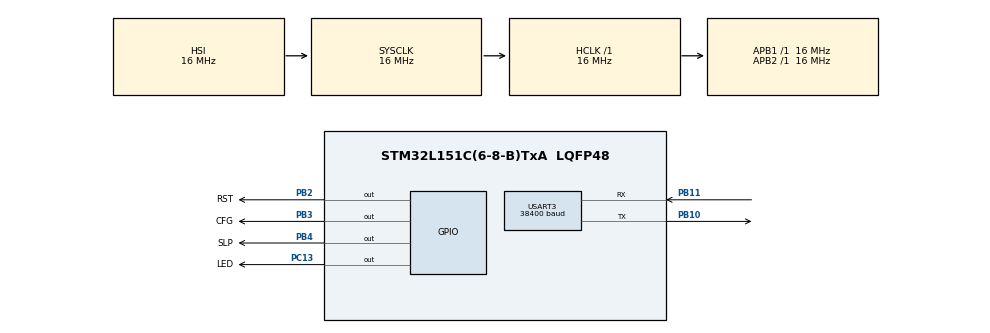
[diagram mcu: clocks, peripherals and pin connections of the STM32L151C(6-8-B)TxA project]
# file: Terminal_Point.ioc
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Dma.Request0=USART3_RX
Dma.Request1=USART3_TX
Dma.USART3_RX.0.Direction=DMA_PERIPH_TO_MEMORY
Dma.USART3_RX.0.Instance=DMA1_Channel3
Dma.USART3_RX.0.MemDataAlignment=DMA_MDATAALIGN_BYTE
Dma.USART3_RX.0.MemInc=DMA_MINC_ENABLE
Dma.USART3_RX.0.Mode=DMA_NORMAL
Dma.USART3_RX.0.PeriphDataAlignment=DMA_PDATAALIGN_BYTE
Dma.USART3_RX.0.PeriphInc=DMA_PINC_DISABLE
Dma.USART3_RX.0.Priority=DMA_PRIORITY_LOW
Dma.USART3_TX.1.Direction=DMA_MEMORY_TO_PERIPH
Dma.USART3_TX.1.Instance=DMA1_Channel2
Dma.USART3_TX.1.MemDataAlignment=DMA_MDATAALIGN_BYTE
Dma.USART3_TX.1.MemInc=DMA_MINC_ENABLE
Dma.USART3_TX.1.Mode=DMA_NORMAL
Dma.USART3_TX.1.PeriphDataAlignment=DMA_PDATAALIGN_BYTE
Dma.USART3_TX.1.PeriphInc=DMA_PINC_DISABLE
Dma.USART3_TX.1.Priority=DMA_PRIORITY_LOW
Mcu.Family=STM32L1
Mcu.Name=STM32L151C(6-8-B)TxA
Mcu.Package=LQFP48
NVIC.DMA1_Channel2_IRQn=true\:1\:0\:true\:false\:true\:false\:true\:true
NVIC.DMA1_Channel3_IRQn=true\:1\:0\:true\:false\:true\:false\:true\:true
NVIC.PriorityGroup=NVIC_PRIORITYGROUP_4
NVIC.RTC_WKUP_IRQn=true\:2\:0\:true\:false\:true\:true\:true\:true
NVIC.USART3_IRQn=true\:1\:0\:true\:false\:true\:false\:true\:true
PA13.Mode=Serial_Wire
PA13.Signal=SYS_JTMS-SWDIO
PA14.Mode=Serial_Wire
PA14.Signal=SYS_JTCK-SWCLK
PB10.Mode=Asynchronous
PB10.Signal=USART3_TX
PB11.Mode=Asynchronous
PB11.Signal=USART3_RX
PB2.GPIO_Label=RST
PB2.PinState=GPIO_PIN_SET
PB2.Signal=GPIO_Output
PB3.GPIO_Label=CFG
PB3.PinState=GPIO_PIN_SET
PB3.Signal=GPIO_Output
PB4.GPIO_Label=SLP
PB4.GPIO_ModeDefaultOutputPP=GPIO_MODE_OUTPUT_PP
PB4.PinState=GPIO_PIN_SET
PB4.Signal=GPIO_Output
PC13-WKUP2.GPIO_Label=LED
PC13-WKUP2.GPIO_ModeDefaultOutputPP=GPIO_MODE_OUTPUT_OD
PC13-WKUP2.GPIO_PuPd=GPIO_NOPULL
PC13-WKUP2.PinState=GPIO_PIN_SET
PC13-WKUP2.Signal=GPIO_Output
PC14-OSC32_IN.Mode=LSE-External-Oscillator
PC14-OSC32_IN.Signal=RCC_OSC32_IN
PC15-OSC32_OUT.Mode=LSE-External-Oscillator
PC15-OSC32_OUT.Signal=RCC_OSC32_OUT
ProjectManager.HeapSize=0x200
ProjectManager.StackSize=0x400
ProjectManager.TargetToolchain=MDK-ARM V5.32
RCC.AHBFreq_Value=16000000
RCC.APB1Freq_Value=16000000
RCC.APB1TimFreq_Value=16000000
RCC.APB2Freq_Value=16000000
RCC.APB2TimFreq_Value=16000000
RCC.HCLKFreq_Value=16000000
RCC.HSE_VALUE=24000000
RCC.HSI_VALUE=16000000
RCC.MSI_VALUE=2097000
RCC.RTCClockSelection=RCC_RTCCLKSOURCE_LSE
RCC.RTCClockSelectionVirtual=RCC_RTCCLKSOURCE_LSE
RCC.SYSCLKFreq_VALUE=16000000
RCC.SYSCLKSource=RCC_SYSCLKSOURCE_HSI
RCC.VCOOutputFreq_Value=48000000
RTC.WakeUpClock-WakeUp=RTC_WAKEUPCLOCK_CK_SPRE_16BITS
RTC.WakeUpCounter-WakeUp=9
USART3.BaudRate=38400
USART3.VirtualMode=VM_ASYNC
VP_RTC_VS_RTC_Activate.Mode=RTC_Enabled
VP_RTC_VS_RTC_WakeUp_intern.Mode=WakeUp
board=custom

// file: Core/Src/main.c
/* USER CODE BEGIN Header */
/**
 ******************************************************************************
 * @file           : main.c
 * @brief          : Main program body
 ******************************************************************************
 * @attention
 *
 * Copyright (c) 2026 STMicroelectronics.
 * All rights reserved.
 *
 * This software is licensed under terms that can be found in the LICENSE file
 * in the root directory of this software component.
 * If no LICENSE file comes with this software, it is provided AS-IS.
 *
 ******************************************************************************
 */
/* USER CODE END Header */
#include "main.h"
#include "dma.h"
#include "rtc.h"
#include "usart.h"
#include "gpio.h"

/* USER CODE BEGIN Includes */
#include "stop.h"
#include "zigbee.h"
/* USER CODE END Includes */

/* USER CODE BEGIN PD */
#define heart_beat_len 4
#define cmd_len 4
#define tx_len 24
/* USER CODE END PD */

/* USER CODE BEGIN PV */
uint8_t cmd_buff[cmd_len];
uint8_t tx_pack[tx_len] = {
    netID | netPT, pointADD, // 本节点地址
    0xFB, 0xFB, 0xFC, 0xFC,  // 数据帧头
    0x00,                    // 6数据类型，Default
    0x00, 0x00,               // 7-8电池电量，Default
    0x00,                    // 9信号类型，Default
    0x00, 0x00, 0x00, 0x00,  // 10-13累计发送次数，Default
    0x00, 0x00, 0x00, 0x00,  // 14-17数据，Default
    0x00, 0x00,              // 18-19CRC校验，Default
    0xFE, 0xFE, 0xFF, 0xFF   // 数据帧尾
};
uint16_t u16CRCtemp = 0;
volatile uint8_t Flag_rx = RESET;
volatile uint8_t Flag_tx = RESET;
volatile uint8_t Run_state = RESET; // RESET-Lowpower,SET-RUN
uint8_t heart_beat[heart_beat_len] = {netID | netPT, pointADD, 0x00, 0xC0};
/* USER CODE END PV */

void SystemClock_Config(void);
/* USER CODE BEGIN PFP */
void LED_flash200(uint8_t count)
{
    for (uint8_t i = 0; i < count; i++)
    {
        led_on();
        HAL_Delay(100);
        led_off();
        HAL_Delay(100);
    }
}
/* USER CODE END PFP */

int main(void)
{

    /* MCU Configuration--------------------------------------------------------*/

    /* Reset of all peripherals, Initializes the Flash interface and the Systick. */
    HAL_Init();

    /* Configure the system clock */
    SystemClock_Config();

    /* Initialize all configured peripherals */
    MX_GPIO_Init();
    MX_DMA_Init();
    MX_USART3_UART_Init();
    MX_RTC_Init();
    /* USER CODE BEGIN 2 */
    pvt_low_Power_init();
    pvt_Zigbee_init();
    HAL_Delay(1000); // 用于烧录程序延时并等待Zigbee入网(后续可调试为zigbee入网时间)
    HAL_UART_Receive_DMA(&huart3, cmd_buff, cmd_len);
    /* USER CODE END 2 */

    /* Infinite loop */
    /* USER CODE BEGIN WHILE */
    while (1)
    {
        led_on();
        /*---MISSION HERE---*/

        // CRC校验
        u16CRCtemp = CRC16_IBM_Byte(tx_pack, 7, 18);
        tx_pack[18] = (uint8_t)(u16CRCtemp >> 8);
        tx_pack[19] = (uint8_t)(u16CRCtemp & 0x00FF);
        HAL_UART_Transmit_DMA(&huart3, tx_pack, tx_len);
        /*---COMMAND PROCESSPN---*/
        if (Flag_rx == SET)
        {
            if (cmd_buff[3] == 0xC0)
            {
                if (cmd_buff[2] == 'A')
                {
                    Run_state = SET;
                }
                else if (cmd_buff[2] == 'B')
                {
                    Run_state = RESET;
                }
            }
            HAL_UART_Receive_DMA(&huart3, cmd_buff, cmd_len);
            Flag_rx = RESET;
        }
        LED_flash200(3);
        if (Run_state == RESET)
        {
            pvt_low_Power_enterSTOP();
            /*---STOP HERE---*/
            pvt_low_Power_exitSTOP();
            heart_beat[2] = Run_state;
            HAL_UART_Transmit_DMA(&huart3, heart_beat, heart_beat_len);
        }
        /* USER CODE END WHILE */

    }
}

void SystemClock_Config(void)
{
    RCC_OscInitTypeDef RCC_OscInitStruct = {0};
    RCC_ClkInitTypeDef RCC_ClkInitStruct = {0};
    RCC_PeriphCLKInitTypeDef PeriphClkInit = {0};

    /** Configure the main internal regulator output voltage
     */
    __HAL_PWR_VOLTAGESCALING_CONFIG(PWR_REGULATOR_VOLTAGE_SCALE1);

    /** Initializes the RCC Oscillators according to the specified parameters
     * in the RCC_OscInitTypeDef structure.
     */
    RCC_OscInitStruct.OscillatorType = RCC_OSCILLATORTYPE_HSI | RCC_OSCILLATORTYPE_LSE;
    RCC_OscInitStruct.LSEState = RCC_LSE_ON;
    RCC_OscInitStruct.HSIState = RCC_HSI_ON;
    RCC_OscInitStruct.HSICalibrationValue = RCC_HSICALIBRATION_DEFAULT;
    RCC_OscInitStruct.PLL.PLLState = RCC_PLL_NONE;
    if (HAL_RCC_OscConfig(&RCC_OscInitStruct) != HAL_OK)
    {
        Error_Handler();
    }

    /** Initializes the CPU, AHB and APB buses clocks
     */
    RCC_ClkInitStruct.ClockType = RCC_CLOCKTYPE_HCLK | RCC_CLOCKTYPE_SYSCLK | RCC_CLOCKTYPE_PCLK1 | RCC_CLOCKTYPE_PCLK2;
    RCC_ClkInitStruct.SYSCLKSource = RCC_SYSCLKSOURCE_HSI;
    RCC_ClkInitStruct.AHBCLKDivider = RCC_SYSCLK_DIV1;
    RCC_ClkInitStruct.APB1CLKDivider = RCC_HCLK_DIV1;
    RCC_ClkInitStruct.APB2CLKDivider = RCC_HCLK_DIV1;

    if (HAL_RCC_ClockConfig(&RCC_ClkInitStruct, FLASH_LATENCY_0) != HAL_OK)
    {
        Error_Handler();
    }
    PeriphClkInit.PeriphClockSelection = RCC_PERIPHCLK_RTC;
    PeriphClkInit.RTCClockSelection = RCC_RTCCLKSOURCE_LSE;
    if (HAL_RCCEx_PeriphCLKConfig(&PeriphClkInit) != HAL_OK)
    {
        Error_Handler();
    }
}

/* USER CODE BEGIN 4 */
void HAL_RTCEx_WakeUpTimerEventCallback(RTC_HandleTypeDef *hrtc)
{
    ;
}
void HAL_UART_RxCpltCallback(UART_HandleTypeDef *huart)
{
    if (huart->Instance == USART3)
    {
        Flag_rx = SET;
    }
}
void HAL_uart_txCpltCallback(UART_HandleTypeDef *huart)
{
    if (huart->Instance == USART3)
    {
        Flag_tx = SET;
    }
}
/* USER CODE END 4 */

void Error_Handler(void)
{
    __disable_irq();
    while (1)
    {
    }
}
